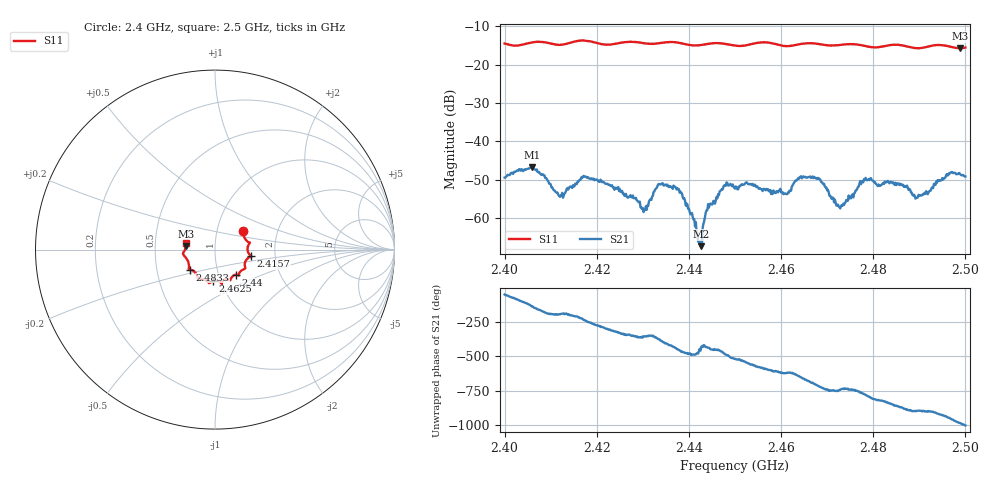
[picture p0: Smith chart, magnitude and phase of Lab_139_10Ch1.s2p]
# Hz S RI R 50
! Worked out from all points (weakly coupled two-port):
!   601 points, 2.4 GHz to 2.5 GHz, reference 50 ohm
!   highest |S21| = -46.76 dB at 2.406 GHz (marker M1); lowest = -67.3 dB at 2.4427 GHz (marker M2)
!   lowest |S11| = -15.7 dB at 2.4988 GHz (marker M3), VSWR 1.39, Z = 36 + j1.36 ohm
!   |S11| at or under -10 dB: start of sweep to end of sweep
!   S12 and S22 are empty: the file has one direction only
!   S11 on the Smith chart (normalised r, x): 2.4 GHz: 1.33, +0.29; 2.4157 GHz: 1.49, -0.12; 2.44 GHz: 1.20, -0.35; 2.4625 GHz: 0.92, -0.34; 2.4833 GHz: 0.74, -0.17; 2.5 GHz: 0.72, +0.06
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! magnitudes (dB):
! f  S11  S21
! 2.4 GHz  -14.5  -49.4
! 2.406 GHz  -14.2  -46.8
! 2.4122 GHz  -14.8  -54.0
! 2.4157 GHz  -13.9  -51.1
! 2.4167 GHz  -13.7  -49.3
! 2.4303 GHz  -14.4  -57.6
! 2.4333 GHz  -14.4  -51.2
! 2.4373 GHz  -14.2  -52.5
! 2.44 GHz  -14.8  -57.5
! 2.4427 GHz  -14.9  -67.3
! 2.4443 GHz  -14.5  -57.2
! 2.4478 GHz  -14.6  -51.3
! 2.45 GHz  -15.0  -52.3
! 2.461 GHz  -15.2  -53.7
! 2.4625 GHz  -15.0  -51.4
! 2.4667 GHz  -14.4  -49.3
! 2.4725 GHz  -14.9  -56.9
! 2.478 GHz  -15.1  -49.8
! 2.4833 GHz  -15.0  -50.5
! 2.4895 GHz  -15.7  -54.7
! 2.4988 GHz  -15.7  -48.4
! 2.5 GHz  -15.6  -49.1
